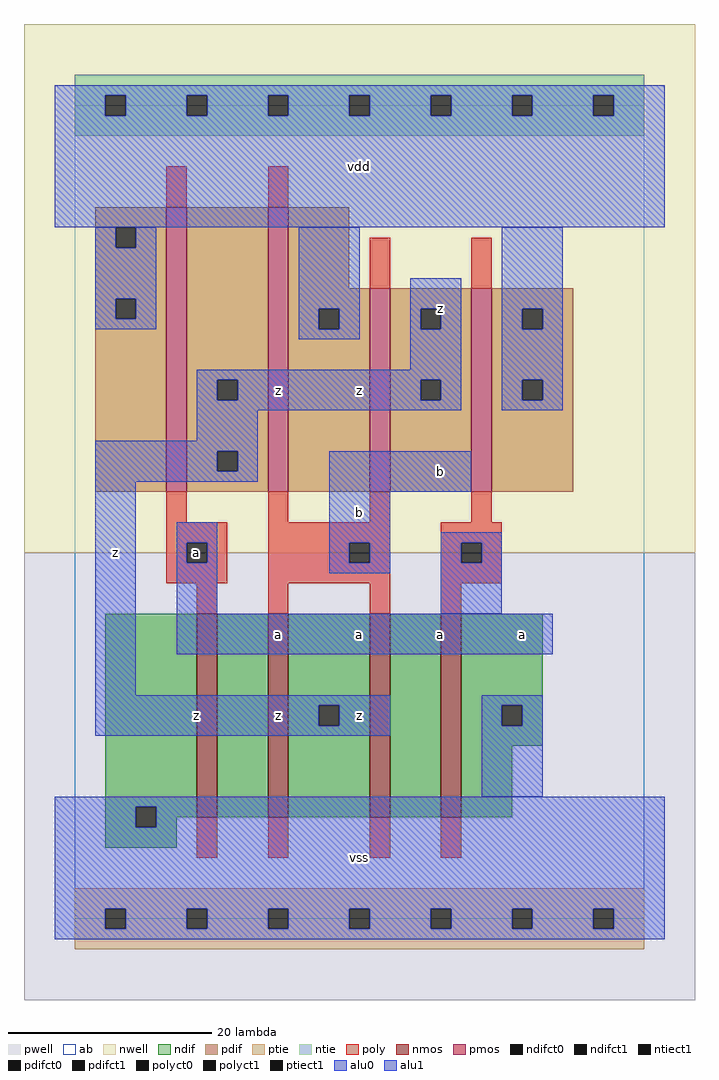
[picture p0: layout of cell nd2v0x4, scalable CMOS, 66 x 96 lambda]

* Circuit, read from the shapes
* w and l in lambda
.subckt nd2v0x4 a b vdd vss z
M1 n1 a vss vss nfet w=20 l=2
M2 z b n1 vss nfet w=20 l=2
M3 n2 b z vss nfet w=20 l=2
M4 vss a n2 vss nfet w=20 l=2
M5 z a vdd vdd pfet w=28 l=2
M6 vdd b z vdd pfet w=28 l=2
M7 z b vdd vdd pfet w=20 l=2
M8 vdd a z vdd pfet w=20 l=2
.ends

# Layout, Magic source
magic
tech scmos
<< ab >>
rect 0 0 56 80
<< nwell >>
rect -5 36 61 88
<< pwell >>
rect -5 -8 61 36
<< poly >>
rect 9 70 11 74
rect 19 70 21 74
rect 29 62 31 67
rect 39 62 41 67
rect 9 39 11 42
rect 19 39 21 42
rect 29 39 31 42
rect 39 39 41 42
rect 9 37 15 39
rect 9 35 11 37
rect 13 35 15 37
rect 9 33 15 35
rect 19 37 31 39
rect 19 35 27 37
rect 29 35 31 37
rect 19 33 31 35
rect 12 30 14 33
rect 19 30 21 33
rect 29 30 31 33
rect 36 37 42 39
rect 36 35 38 37
rect 40 35 42 37
rect 36 33 42 35
rect 36 30 38 33
rect 12 6 14 10
rect 19 6 21 10
rect 29 6 31 10
rect 36 6 38 10
<< ndif >>
rect 3 11 12 30
rect 3 9 6 11
rect 8 10 12 11
rect 14 10 19 30
rect 21 21 29 30
rect 21 19 24 21
rect 26 19 29 21
rect 21 10 29 19
rect 31 10 36 30
rect 38 21 46 30
rect 38 19 42 21
rect 44 19 46 21
rect 38 17 46 19
rect 38 10 43 17
rect 8 9 10 10
rect 3 7 10 9
<< pdif >>
rect 2 68 9 70
rect 2 66 4 68
rect 6 66 9 68
rect 2 61 9 66
rect 2 59 4 61
rect 6 59 9 61
rect 2 42 9 59
rect 11 53 19 70
rect 11 51 14 53
rect 16 51 19 53
rect 11 46 19 51
rect 11 44 14 46
rect 16 44 19 46
rect 11 42 19 44
rect 21 62 27 70
rect 21 60 29 62
rect 21 58 24 60
rect 26 58 29 60
rect 21 42 29 58
rect 31 60 39 62
rect 31 58 34 60
rect 36 58 39 60
rect 31 53 39 58
rect 31 51 34 53
rect 36 51 39 53
rect 31 42 39 51
rect 41 60 49 62
rect 41 58 44 60
rect 46 58 49 60
rect 41 53 49 58
rect 41 51 44 53
rect 46 51 49 53
rect 41 42 49 51
<< alu1 >>
rect -2 81 58 82
rect -2 79 3 81
rect 5 79 11 81
rect 13 79 19 81
rect 21 79 27 81
rect 29 79 35 81
rect 37 79 43 81
rect 45 79 51 81
rect 53 79 58 81
rect -2 68 58 79
rect 33 60 38 63
rect 33 58 34 60
rect 36 58 38 60
rect 33 54 38 58
rect 12 53 38 54
rect 12 51 14 53
rect 16 51 34 53
rect 36 51 38 53
rect 12 50 38 51
rect 12 47 18 50
rect 2 46 18 47
rect 2 44 14 46
rect 16 44 18 46
rect 2 43 18 44
rect 2 22 6 43
rect 25 42 39 46
rect 10 37 14 39
rect 10 35 11 37
rect 13 35 14 37
rect 10 30 14 35
rect 25 37 31 42
rect 25 35 27 37
rect 29 35 31 37
rect 25 34 31 35
rect 10 26 47 30
rect 2 21 31 22
rect 2 19 24 21
rect 26 19 31 21
rect 2 18 31 19
rect -2 11 58 12
rect -2 9 6 11
rect 8 9 58 11
rect -2 1 58 9
rect -2 -1 3 1
rect 5 -1 11 1
rect 13 -1 19 1
rect 21 -1 27 1
rect 29 -1 35 1
rect 37 -1 43 1
rect 45 -1 51 1
rect 53 -1 58 1
rect -2 -2 58 -1
<< ptie >>
rect 0 1 56 3
rect 0 -1 3 1
rect 5 -1 11 1
rect 13 -1 19 1
rect 21 -1 27 1
rect 29 -1 35 1
rect 37 -1 43 1
rect 45 -1 51 1
rect 53 -1 56 1
rect 0 -3 56 -1
<< ntie >>
rect 0 81 56 83
rect 0 79 3 81
rect 5 79 11 81
rect 13 79 19 81
rect 21 79 27 81
rect 29 79 35 81
rect 37 79 43 81
rect 45 79 51 81
rect 53 79 56 81
rect 0 77 56 79
<< nmos >>
rect 12 10 14 30
rect 19 10 21 30
rect 29 10 31 30
rect 36 10 38 30
<< pmos >>
rect 9 42 11 70
rect 19 42 21 70
rect 29 42 31 62
rect 39 42 41 62
<< polyct0 >>
rect 38 35 40 37
<< polyct1 >>
rect 11 35 13 37
rect 27 35 29 37
<< ndifct0 >>
rect 42 19 44 21
<< ndifct1 >>
rect 6 9 8 11
rect 24 19 26 21
<< ntiect1 >>
rect 3 79 5 81
rect 11 79 13 81
rect 19 79 21 81
rect 27 79 29 81
rect 35 79 37 81
rect 43 79 45 81
rect 51 79 53 81
<< ptiect1 >>
rect 3 -1 5 1
rect 11 -1 13 1
rect 19 -1 21 1
rect 27 -1 29 1
rect 35 -1 37 1
rect 43 -1 45 1
rect 51 -1 53 1
<< pdifct0 >>
rect 4 66 6 68
rect 4 59 6 61
rect 24 58 26 60
rect 44 58 46 60
rect 44 51 46 53
<< pdifct1 >>
rect 14 51 16 53
rect 14 44 16 46
rect 34 58 36 60
rect 34 51 36 53
<< alu0 >>
rect 2 66 4 68
rect 6 66 8 68
rect 2 61 8 66
rect 2 59 4 61
rect 6 59 8 61
rect 2 58 8 59
rect 22 60 28 68
rect 22 58 24 60
rect 26 58 28 60
rect 22 57 28 58
rect 42 60 48 68
rect 42 58 44 60
rect 46 58 48 60
rect 42 53 48 58
rect 42 51 44 53
rect 46 51 48 53
rect 42 50 48 51
rect 36 37 42 38
rect 36 35 38 37
rect 40 35 42 37
rect 36 30 42 35
rect 40 21 46 22
rect 40 19 42 21
rect 44 19 46 21
rect 40 12 46 19
<< labels >>
rlabel alu1 4 36 4 36 6 z
rlabel alu1 20 20 20 20 6 z
rlabel alu1 12 20 12 20 6 z
rlabel polyct1 12 36 12 36 6 a
rlabel alu1 20 28 20 28 6 a
rlabel alu1 20 52 20 52 6 z
rlabel alu1 28 6 28 6 6 vss
rlabel alu1 28 20 28 20 6 z
rlabel alu1 28 28 28 28 6 a
rlabel alu1 36 28 36 28 6 a
rlabel alu1 36 44 36 44 6 b
rlabel alu1 28 40 28 40 6 b
rlabel alu1 28 52 28 52 6 z
rlabel alu1 36 60 36 60 6 z
rlabel alu1 28 74 28 74 6 vdd
rlabel alu1 44 28 44 28 6 a
<< end >>
